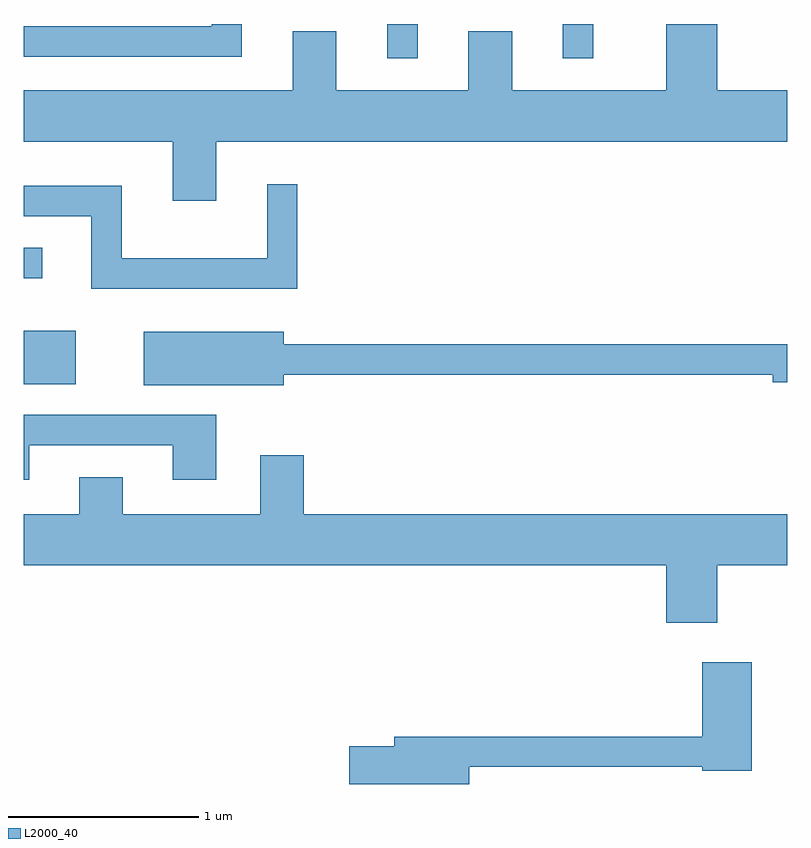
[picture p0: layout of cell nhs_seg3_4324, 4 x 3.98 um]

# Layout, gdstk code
import gdstk
lib = gdstk.Library(unit=1e-6, precision=1e-09)
def R(c, l, rs):  # rectangles x0, y0, x1, y1
    for r in rs: c.add(gdstk.rectangle(r[:2], r[2:], *l))
def P(c, l, *ps):  # polygons
    for p in ps: c.add(gdstk.Polygon(p, *l))
L2000_40 = (2000, 40)

nhs_seg3_4324 = lib.new_cell('nhs_seg3_4324')
R(nhs_seg3_4324, L2000_40, [(311.611,1198.006,311.884,1198.284), (311.611,1198.561,311.708,1198.719), (313.516,1199.713,313.674,1199.892), (314.436,1199.713,314.594,1199.892)])
P(nhs_seg3_4324, L2000_40, [(312.619,1199.276),(315.611,1199.276),(315.611,1199.544),(315.244,1199.544),(315.244,1199.892),(314.976,1199.892),(314.976,1199.544),(314.169,1199.544),(314.169,1199.854),(313.941,1199.854),(313.941,1199.544),(313.249,1199.544),(313.249,1199.854),(313.021,1199.854),(313.021,1199.544),(311.611,1199.544),(311.611,1199.276),(312.391,1199.276),(312.391,1198.966),(312.619,1198.966)],
  [(312.754,1199.892),(312.596,1199.892),(312.596,1199.879),(311.611,1199.879),(311.611,1199.721),(312.754,1199.721)],
  [(313.044,1199.053),(312.886,1199.053),(312.886,1198.664),(312.124,1198.664),(312.124,1199.044),(311.611,1199.044),(311.611,1198.886),(311.966,1198.886),(311.966,1198.506),(313.044,1198.506)],
  [(312.974,1198.056),(315.536,1198.056),(315.536,1198.016),(315.611,1198.016),(315.611,1198.214),(312.974,1198.214),(312.974,1198.279),(312.241,1198.279),(312.241,1198.001),(312.974,1198.001)],
  [(311.639,1197.686),(312.391,1197.686),(312.391,1197.506),(312.619,1197.506),(312.619,1197.844),(311.611,1197.844),(311.611,1197.506),(311.639,1197.506)],
  [(315.244,1197.056),(315.611,1197.056),(315.611,1197.324),(313.079,1197.324),(313.079,1197.634),(312.851,1197.634),(312.851,1197.324),(312.129,1197.324),(312.129,1197.519),(311.901,1197.519),(311.901,1197.324),(311.611,1197.324),(311.611,1197.056),(314.976,1197.056),(314.976,1196.756),(315.244,1196.756)],
  [(313.944,1196.001),(315.166,1196.001),(315.166,1195.981),(315.424,1195.981),(315.424,1196.549),(315.166,1196.549),(315.166,1196.159),(313.551,1196.159),(313.551,1196.109),(313.316,1196.109),(313.316,1195.911),(313.944,1195.911)])

lib.write_gds('nhs_seg3_4324.gds')
